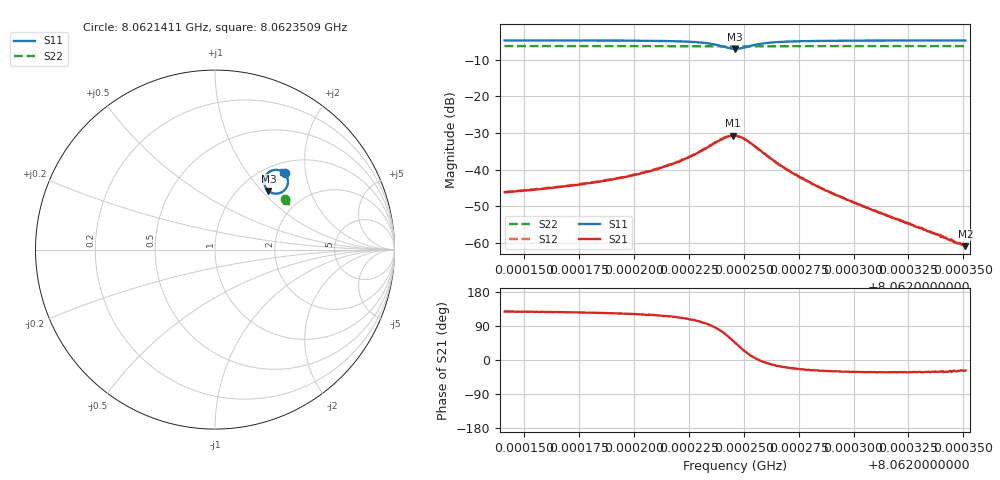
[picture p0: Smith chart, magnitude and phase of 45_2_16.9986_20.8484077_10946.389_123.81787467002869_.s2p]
#  HZ  S  RI  R  50.00
! Rohde & Schwarz Vector Network Analyzer
! Rohde-Schwarz,ZNB20-2Port,1311601062101988,3.16
! Created: UTC 3/20/2024, 10:54:04 PM
! freq[Hz]  re:S11  im:S11  re:S21  im:S21  re:S12  im:S12  re:S22  im:S22
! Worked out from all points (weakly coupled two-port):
!   401 points, 8.0621411 GHz to 8.0623509 GHz, reference 50 ohm
!   highest |S21| = -30.74 dB at 8.062245 GHz (marker M1); lowest = -60.9 dB at 8.0623509 GHz (marker M2)
!   lowest |S11| = -7.1 dB at 8.062246 GHz (marker M3), VSWR 2.59, Z = 67.1 + j54.5 ohm
!   |S11| at or under -10 dB: nowhere
!   |S22| runs from -6.5 to -6.3 dB; largest |S21 - S12| = 0.0024
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8.06214108e9  0.3877 0.4248  -0.00302 0.00388  -0.00281 0.00409  0.3903 0.2826
8.06215839e9  0.3904 0.4218  -0.00329 0.00437  -0.00309 0.0046  0.391 0.2816
8.06217623e9  0.3936 0.4176  -0.00366 0.00514  -0.0034 0.00543  0.3917 0.2805
8.06219564e9  0.3984 0.4101  -0.00422 0.00669  -0.00387 0.007  0.3924 0.2792
8.06221138e9  0.4034 0.398  -0.00475 0.00913  -0.00417 0.0096  0.3928 0.278
8.06222135e9  0.4063 0.3833  -0.00486 0.0122  -0.00418 0.0128  0.393 0.2769
8.06222659e9  0.406 0.3706  -0.00443 0.015  -0.00328 0.0154  0.3929 0.276
8.06223394e9  0.3964 0.3431  -0.0014 0.0204  0.000135 0.0207  0.3924 0.2746
8.06224023e9  0.3606 0.315  0.00718 0.025  0.00926 0.0249  0.3907 0.2739
8.06224233e9  0.3389 0.3117  0.0119 0.0252  0.0139 0.0246  0.3896 0.2739
8.06224496e9  0.3091 0.3195  0.0181 0.0227  0.02 0.0213  0.3888 0.2745
8.06224601e9  0.298 0.3267  0.0202 0.0207  0.0218 0.0192  0.3883 0.275
8.0622481e9  0.2815 0.3468  0.023 0.016  0.0244 0.0142  0.3881 0.2761
8.06225073e9  0.2737 0.3757  0.0238 0.00949  0.0246 0.00765  0.3884 0.2772
8.0622586e9  0.2982 0.4295  0.0172 -0.00142  0.0171 -0.0023  0.3904 0.2787
8.06226594e9  0.3238 0.4424  0.0113 -0.00328  0.0111 -0.00403  0.392 0.2784
8.06227381e9  0.3409 0.4445  0.00791 -0.00333  0.00756 -0.00372  0.393 0.278
8.06228116e9  0.3508 0.4437  0.00574 -0.00289  0.00553 -0.00326  0.3935 0.2775
8.06229585e9  0.3627 0.4407  0.00346 -0.00206  0.00335 -0.00227  0.3944 0.2764
8.06231631e9  0.3713 0.4368  0.00194 -0.00122  0.00188 -0.00136  0.3952 0.2752
8.06234044e9  0.3771 0.4335  0.00107 -0.000595  0.00104 -0.000704  0.3962 0.2737
8.06235094e9  0.379 0.4322  0.000804 -0.000419  0.000762 -0.000488  0.3968 0.2733
